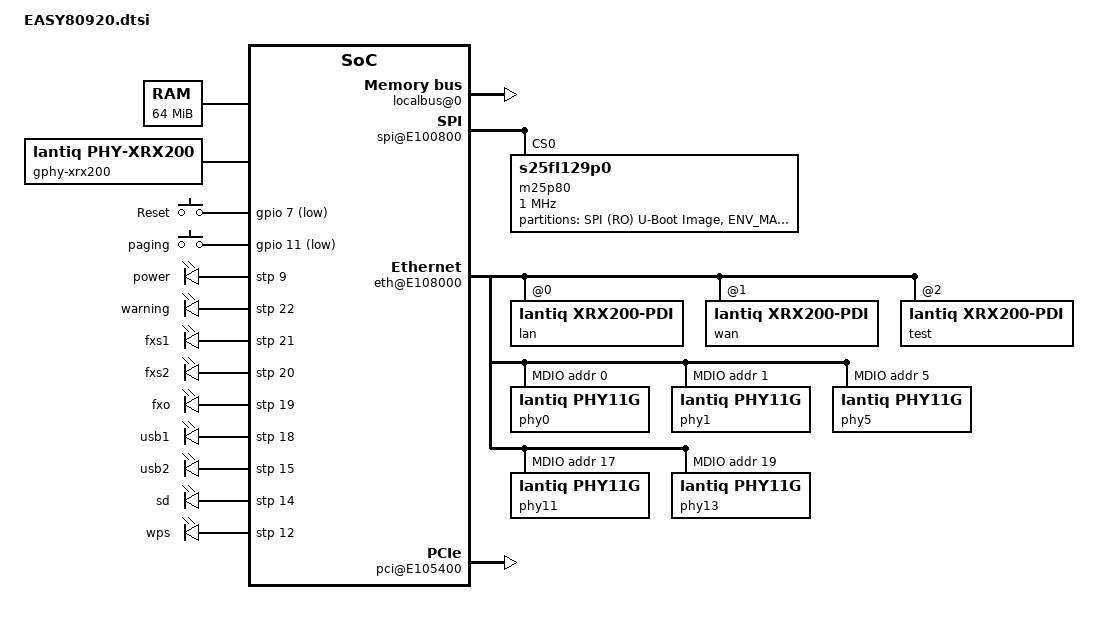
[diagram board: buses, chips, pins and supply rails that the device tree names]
/include/ "vr9.dtsi"

/ {
	chosen {
		bootargs = "console=ttyLTQ0,115200 init=/etc/preinit";
	};

	memory@0 {
		reg = <0x0 0x4000000>;
	};
	
	fpi@10000000 {
		#address-cells = <1>;
		#size-cells = <1>;
		compatible = "lantiq,fpi", "simple-bus";
		ranges = <0x0 0x10000000 0xEEFFFFF>;
		reg = <0x10000000 0xEF00000>;

		localbus@0 {
			#address-cells = <2>;
			#size-cells = <1>;
			compatible = "lantiq,localbus", "simple-bus";
			
		};

		spi@E100800 {
			compatible = "lantiq,spi-xway-broken";
			reg = <0xE100800 0x100>;
			interrupt-parent = <&icu0>;
			interrupts = <22 23 24>;
			#address-cells = <1>;
			#size-cells = <1>;

			m25p80@0 {
				#address-cells = <1>;
				#size-cells = <1>;
				compatible = "s25fl129p0";
				reg = <0 0>;
				linux,modalias = "m25p80", "mx25l3205d";
				spi-max-frequency = <1000000>;

				partition@0 {
					reg = <0x0 0x20000>;
					label = "SPI (RO) U-Boot Image";
					read-only;
				};

				partition@20000 {
					reg = <0x20000 0x10000>;
					label = "ENV_MAC";
					read-only;
				};

				partition@30000 {
					reg = <0x30000 0x10000>;
					label = "DPF";
					read-only;
				};

				partition@40000 {
					reg = <0x40000 0x10000>;
					label = "NVRAM";
					read-only;
				};

				partition@500000 {
					reg = <0x50000 0x003a0000>;
					label = "kernel";
				};
			};
		};

		gpio: pinmux@E100B10 {
			compatible = "lantiq,pinctrl-xr9";
			pinctrl-names = "default";
			pinctrl-0 = <&state_default>;
			
			interrupt-parent = <&icu0>;
			interrupts = <166 135 66 40 41 42 38>;

			#gpio-cells = <2>;
			gpio-controller;
			reg = <0xE100B10 0xA0>;

			state_default: pinmux {
				exin3 {
					lantiq,groups = "exin3";
					lantiq,function = "exin";
				};
				stp {
					lantiq,groups = "stp";
					lantiq,function = "stp";
				};
				spi {
					lantiq,groups = "spi", "spi_cs4";
					lantiq,function = "spi";
				};
				nand {
					lantiq,groups = "nand cle", "nand ale",
							"nand rd", "nand rdy";
					lantiq,function = "ebu";
				};
				mdio {
					lantiq,groups = "mdio";
					lantiq,function = "mdio";
				};
				pci {
					lantiq,groups = "gnt1", "req1";
					lantiq,function = "pci";
				};
				conf_out {
					lantiq,pins = "io24", "io13", "io49", /* nand cle, ale and rd */
							"io4", "io5", "io6", /* stp */
							"io21",
							"io33";
					lantiq,open-drain;
					lantiq,pull = <0>;
					lantiq,output = <1>;
				};
				pcie-rst {
					lantiq,pins = "io38";
					lantiq,pull = <0>;
					lantiq,output = <1>;
				};
				conf_in {
					lantiq,pins = "io39", /* exin3 */
							"io48"; /* nand rdy */
					lantiq,pull = <2>;
				};
			};
		};

		eth@E108000 {
			#address-cells = <1>;
			#size-cells = <0>;
			compatible = "lantiq,xrx200-net";
			reg = <	0xE108000 0x3000 /* switch */
				0xE10B100 0x70 /* mdio */
				0xE10B1D8 0x30 /* mii */
				0xE10B308 0x30 /* pmac */
			>;
			interrupt-parent = <&icu0>;
			interrupts = <73 72>;

			lan: interface@0 {
				compatible = "lantiq,xrx200-pdi";
				#address-cells = <1>;
				#size-cells = <0>;
				reg = <0>;
				mac-address = [ 00 11 22 33 44 55 ];

				ethernet@0 {
					compatible = "lantiq,xrx200-pdi-port";
					reg = <0>;
					phy-mode = "rgmii";
					phy-handle = <&phy0>;
				};
				ethernet@1 {
					compatible = "lantiq,xrx200-pdi-port";
					reg = <1>;
					phy-mode = "rgmii";
					phy-handle = <&phy1>;
				};
				ethernet@2 {
					compatible = "lantiq,xrx200-pdi-port";
					reg = <2>;
					phy-mode = "gmii";
					phy-handle = <&phy11>;
				};
			};

			wan: interface@1 {
				compatible = "lantiq,xrx200-pdi";
				#address-cells = <1>;
				#size-cells = <0>;
				reg = <1>;
				mac-address = [ 00 11 22 33 44 56 ];
				lantiq,wan;
				ethernet@5 {
					compatible = "lantiq,xrx200-pdi-port";
					reg = <5>;
					phy-mode = "rgmii";
					phy-handle = <&phy5>;
				};
			};

			test: interface@2 {
				compatible = "lantiq,xrx200-pdi";
				#address-cells = <1>;
				#size-cells = <0>;
				reg = <2>;
				mac-address = [ 00 11 22 33 44 57 ];
				ethernet@4 {
					compatible = "lantiq,xrx200-pdi-port";
					reg = <4>;
					phynmode0 = "gmii";
					phy-handle = <&phy13>;
				};
			};

			mdio@0 {
				#address-cells = <1>;
				#size-cells = <0>;
				compatible = "lantiq,xrx200-mdio";
				phy0: ethernet-phy@0 {
					reg = <0x0>;
					compatible = "lantiq,phy11g", "ethernet-phy-ieee802.3-c22";
					lantiq,c45-reg-init = <1 0 0 0>; 
				};
				phy1: ethernet-phy@1 {
					reg = <0x1>;
					compatible = "lantiq,phy11g", "ethernet-phy-ieee802.3-c22";
					lantiq,c45-reg-init = <1 0 0 0>; 
				};
				phy5: ethernet-phy@5 {
					reg = <0x5>;
					compatible = "lantiq,phy11g", "ethernet-phy-ieee802.3-c22";
					lantiq,c45-reg-init = <1 0 0 0>; 
				};
				phy11: ethernet-phy@11 {
					reg = <0x11>;
					compatible = "lantiq,phy11g", "ethernet-phy-ieee802.3-c22";
					lantiq,c45-reg-init = <1 0 0 0>; 
				};
				phy13: ethernet-phy@13 {
					reg = <0x13>;
					compatible = "lantiq,phy11g", "ethernet-phy-ieee802.3-c22";
					lantiq,c45-reg-init = <1 0 0 0>; 
				};
			};
		};

		stp: stp@E100BB0 {
			compatible = "lantiq,gpio-stp-xway";
			reg = <0xE100BB0 0x40>;
			#gpio-cells = <2>;
			gpio-controller;

			lantiq,shadow = <0xffff>;
			lantiq,groups = <0x7>;
			lantiq,dsl = <0x3>;
			lantiq,phy1 = <0x7>;
			lantiq,phy2 = <0x7>;
			/* lantiq,rising; */
		};

		ifxhcd@E101000 {
			status = "okay";
			gpios = <&gpio 33 0>;
		};	

		pci@E105400 {
			#address-cells = <3>;
			#size-cells = <2>;
			#interrupt-cells = <1>;
			compatible = "lantiq,pci-xway";
			bus-range = <0x0 0x0>;
			ranges = <0x2000000 0 0x8000000 0x8000000 0 0x2000000   /* pci memory */
				0x1000000 0 0x00000000 0xAE00000 0 0x200000>; /* io space */
			reg = <0x7000000 0x8000         /* config space */
				0xE105400 0x400>;       /* pci bridge */
			lantiq,bus-clock = <33333333>;
			/*lantiq,external-clock;*/
			lantiq,delay-hi = <0>; /* 0ns delay */
			lantiq,delay-lo = <0>; /* 0.0ns delay */
			interrupt-map-mask = <0xf800 0x0 0x0 0x7>;
			interrupt-map = <
				0x7000 0 0 1 &icu0 29 1 // slot 14, irq 29
				>;
			gpios-reset = <&gpio 21 0>;
			req-mask = <0x1>;	/* GNT1 */
		};
	};

	gphy-xrx200 {
		compatible = "lantiq,phy-xrx200";
		firmware = "lantiq/vr9_phy11g_a2x.bin";
		phys = [ 00 01 ];
	};

	gpio-keys-polled {
		compatible = "gpio-keys-polled";
		#address-cells = <1>;
		#size-cells = <0>;
		poll-interval = <100>;
		reset {
			label = "Reset";
			gpios = <&gpio 7 1>;
			linux,code = <0x100>;
		};
		paging {
			label = "paging";
			gpios = <&gpio 11 1>;
			linux,code = <0x100>;
		};
	};

/*	gpio-keys {
		compatible = "gpio-keys";
		wps {
			gpios = <&gpio 2 0>;
			linux,code = <0x100>;
		};
	};*/

	gpio-leds {
		compatible = "gpio-leds";
		
		power {
			label = "power";
			gpios = <&stp 9 0>;
			default-state = "on";
		};
		warning {
			label = "warning";
			gpios = <&stp 22 0>;
		};
		fxs1 {
			label = "fxs1";
			gpios = <&stp 21 0>;
		};
		fxs2 {
			label = "fxs2";
			gpios = <&stp 20 0>;
		};
		fxo {
			label = "fxo";
			gpios = <&stp 19 0>;
		};
		usb1 {
			label = "usb1";
			gpios = <&stp 18 0>;
		};
		usb2 {
			label = "usb2";
			gpios = <&stp 15 0>;
		};
		sd {
			label = "sd";
			gpios = <&stp 14 0>;
		};
		wps {
			label = "wps";
			gpios = <&stp 12 0>;
		};
	};
};
